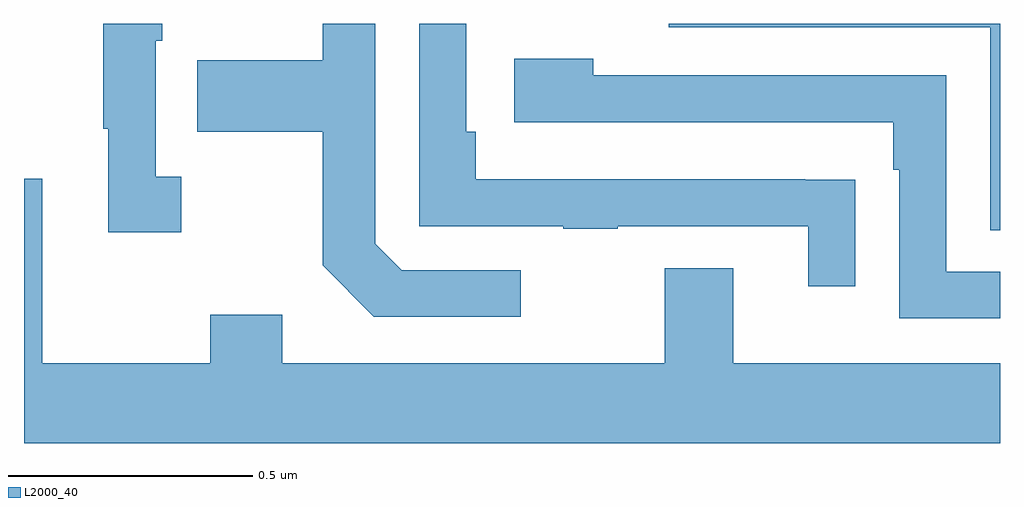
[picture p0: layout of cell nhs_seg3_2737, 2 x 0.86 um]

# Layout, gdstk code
import gdstk
lib = gdstk.Library(unit=1e-6, precision=1e-09)
def P(c, l, *ps):  # polygons
    for p in ps: c.add(gdstk.Polygon(p, *l))
L2000_40 = (2000, 40)

nhs_seg3_2737 = lib.new_cell('nhs_seg3_2737')
P(nhs_seg3_2737, L2000_40, [(144.322,744.086),(144.27,744.086),(144.27,744.365),(144.283,744.365),(144.283,744.4),(144.162,744.4),(144.162,744.185),(144.173,744.185),(144.173,743.973),(144.322,743.973)],
  [(145.703,744.08),(145.601,744.08),(145.601,744.081),(144.926,744.081),(144.926,744.178),(144.906,744.178),(144.906,744.4),(144.81,744.4),(144.81,743.985),(145.105,743.985),(145.105,743.98),(145.217,743.98),(145.217,743.985),(145.607,743.985),(145.607,743.862),(145.703,743.862)],
  [(145.018,743.895),(144.774,743.895),(144.72,743.949),(144.72,744.4),(144.612,744.4),(144.612,744.325),(144.355,744.325),(144.355,744.178),(144.612,744.178),(144.612,743.905),(144.717,743.799),(145.018,743.799)],
  [(146,744.4),(145.321,744.4),(145.321,744.393),(145.98,744.393),(145.98,743.977),(146,743.977)],
  [(146,743.892),(145.89,743.892),(145.89,744.294),(145.166,744.294),(145.166,744.328),(145.005,744.328),(145.005,744.198),(145.781,744.198),(145.781,744.101),(145.794,744.101),(145.794,743.796),(146,743.796)],
  [(146,743.704),(145.453,743.704),(145.453,743.899),(145.313,743.899),(145.313,743.704),(144.529,743.704),(144.529,743.803),(144.382,743.803),(144.382,743.704),(144.037,743.704),(144.037,744.082),(144,744.082),(144,743.54),(146,743.54)])

lib.write_gds('nhs_seg3_2737.gds')
